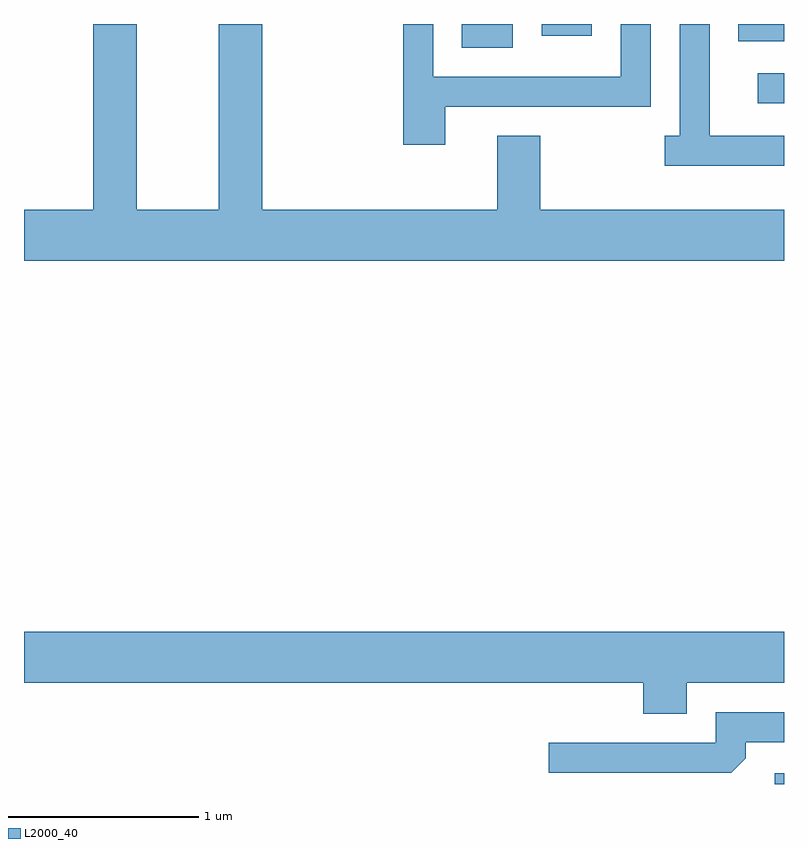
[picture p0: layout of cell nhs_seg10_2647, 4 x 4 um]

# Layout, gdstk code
import gdstk
lib = gdstk.Library(unit=1e-6, precision=1e-09)
def R(c, l, rs):  # rectangles x0, y0, x1, y1
    for r in rs: c.add(gdstk.rectangle(r[:2], r[2:], *l))
def P(c, l, *ps):  # polygons
    for p in ps: c.add(gdstk.Polygon(p, *l))
L2000_40 = (2000, 40)

nhs_seg10_2647 = lib.new_cell('nhs_seg10_2647')
R(nhs_seg10_2647, L2000_40, [(267.561,2084.522,267.611,2084.579), (267.473,2088.106,267.611,2088.264), (265.916,2088.396,266.184,2088.522), (267.371,2088.431,267.611,2088.522), (266.336,2088.461,266.599,2088.522)])
P(nhs_seg10_2647, L2000_40, [(267.611,2087.544),(266.329,2087.544),(266.329,2087.934),(266.101,2087.934),(266.101,2087.544),(264.864,2087.544),(264.864,2088.522),(264.636,2088.522),(264.636,2087.544),(264.204,2087.544),(264.204,2088.522),(263.976,2088.522),(263.976,2087.544),(263.611,2087.544),(263.611,2087.276),(267.611,2087.276)],
  [(265.829,2088.086),(266.909,2088.086),(266.909,2088.522),(266.751,2088.522),(266.751,2088.244),(265.764,2088.244),(265.764,2088.522),(265.606,2088.522),(265.606,2087.886),(265.829,2087.886)],
  [(267.611,2087.934),(267.219,2087.934),(267.219,2088.522),(267.061,2088.522),(267.061,2087.934),(266.983,2087.934),(266.983,2087.776),(267.611,2087.776)],
  [(267.099,2085.056),(267.611,2085.056),(267.611,2085.324),(263.611,2085.324),(263.611,2085.056),(266.871,2085.056),(266.871,2084.891),(267.099,2084.891)],
  [(267.409,2084.657),(267.409,2084.741),(267.611,2084.741),(267.611,2084.899),(267.251,2084.899),(267.251,2084.739),(266.373,2084.739),(266.373,2084.581),(267.334,2084.581)])

lib.write_gds('nhs_seg10_2647.gds')
